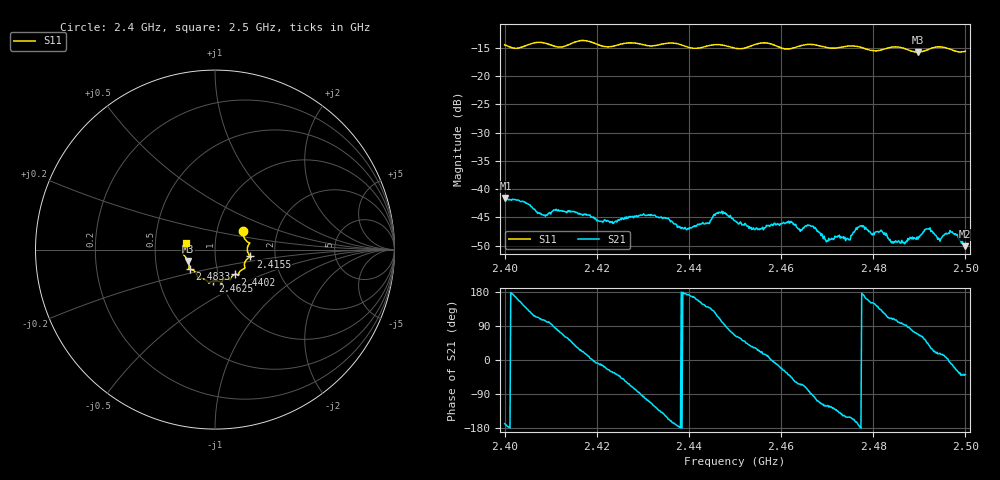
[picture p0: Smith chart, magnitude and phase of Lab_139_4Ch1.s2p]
# Hz S RI R 50
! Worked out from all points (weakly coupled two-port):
!   601 points, 2.4 GHz to 2.5 GHz, reference 50 ohm
!   highest |S21| = -41.62 dB at 2.4002 GHz (marker M1); lowest = -50.1 dB at 2.4998 GHz (marker M2)
!   lowest |S11| = -15.8 dB at 2.4897 GHz (marker M3), VSWR 1.39, Z = 36.8 - j4.84 ohm
!   |S11| at or under -10 dB: start of sweep to end of sweep
!   S12 and S22 are empty: the file has one direction only
!   S11 on the Smith chart (normalised r, x): 2.4 GHz: 1.33, +0.29; 2.4155 GHz: 1.49, -0.12; 2.4402 GHz: 1.20, -0.34; 2.4625 GHz: 0.92, -0.33; 2.4833 GHz: 0.74, -0.17; 2.5 GHz: 0.72, +0.06
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2.4e9  0.1565 0.105  -0.008 -0.0017  0 0  0 0
2.400167e9  0.1562 0.1027  -0.00815 -0.00156  0 0  0 0
2.4085e9  0.1928 0.0354  -0.00162 0.00566  0 0  0 0
2.4155e9  0.197 -0.0381  0.0051 0.00361  0 0  0 0
2.416667e9  0.2011 -0.0423  0.00549 0.0024  0 0  0 0
2.423333e9  0.164 -0.0796  0.00444 -0.00267  0 0  0 0
2.433333e9  0.1322 -0.1335  -0.00373 -0.00428  0 0  0 0
2.440167e9  0.1118 -0.1384  -0.00454 0.000728  0 0  0 0
2.446667e9  0.0841 -0.1691  -0.00206 0.00592  0 0  0 0
2.45e9  0.0645 -0.1637  0.00224 0.00474  0 0  0 0
2.454667e9  0.0362 -0.1879  0.00395 0.00228  0 0  0 0
2.4625e9  -0.0111 -0.1755  0.00328 -0.00386  0 0  0 0
2.466667e9  -0.0344 -0.1868  -4.42e-05 -0.00471  0 0  0 0
2.47e9  -0.0483 -0.171  -0.00177 -0.003  0 0  0 0
2.4745e9  -0.0895 -0.1606  -0.0032 -0.00178  0 0  0 0
2.4775e9  -0.0982 -0.1485  -0.00475 0.00031  0 0  0 0
2.483333e9  -0.1392 -0.1096  -0.00138 0.0034  0 0  0 0
2.489667e9  -0.1487 -0.0641  0.00131 0.00337  0 0  0 0
2.491833e9  -0.1665 -0.0375  0.00317 0.00313  0 0  0 0
2.497167e9  -0.1693 -0.00356  0.0041 -0.000883  0 0  0 0
2.499833e9  -0.161 0.0361  0.00239 -0.00203  0 0  0 0
2.5e9  -0.1611 0.0388  0.00254 -0.00204  0 0  0 0
